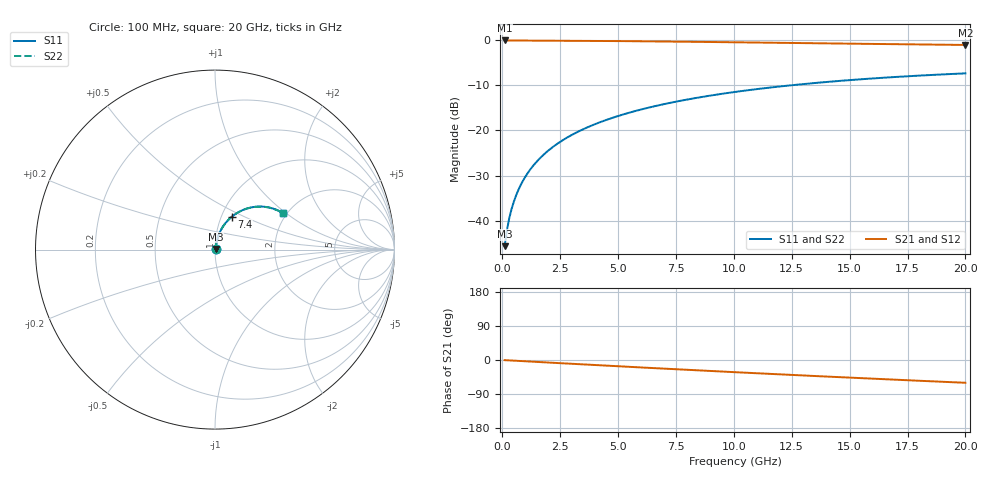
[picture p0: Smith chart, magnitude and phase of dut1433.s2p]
! Touchstone file exported from HFSS 2026.1.0
!  File:  C:/ffzhzh/LocalFiles/Ansys_Project_Files/temp_train_BSMRDL_1433_1783180420_22436.aedt
!  Generated:  11:55:05 PM Jul  4, 2026
!  Design:  BSMRDL
!  Project:  temp_train_BSMRDL_1433_1783180420_22436
! Variables:
!  h_bsmrdl = 4.32um
!  h_ox = 20um
!  h_rdl = 5um
!  h_sub = 80um
!  h_tmrdl = 5um
!  h_tsv = 80um
!  h_via = 3um
!  l_bsmrdl = 984.04um
!  l_sub = 1384.04um
!  l_tmrdl = 200um
!  m_sub = 200um
!  pitch = 42.38um
!  r_tsv = 6um
!  s_tmrdl = 10um
!  w_bsmrdl = 21.32um
!  w_sub = 500um
!  w_tmrdl = 12um
!  x_tsv_center1 = 206um
!  x_tsv_center2 = 1211.36um
!  x_tsv_center3 = 1423.36um
!  x_tsv_center4 = 2428.72um
!  x_tsv_center5 = 2640.72um
!  x_tsv_center6 = 3646.08um
# GHz S MA R 50.000000
! Terminal data exported
! Port[1] = BSM_RDL1_1_T1
! Port[2] = BSM_RDL1_1_T2
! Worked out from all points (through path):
!   200 points, 100 MHz to 20 GHz, reference 50 ohm
!   highest |S21| = -0.03 dB at 100 MHz (marker M1); lowest = -1.0 dB at 20 GHz (marker M2)
!   group delay of S21, straight-line fit = 8.34 ps
!   lowest |S11| = -45.7 dB at 100 MHz (marker M3), VSWR 1.01, Z = 50.4 + j0.338 ohm
!   |S11| at or under -10 dB: start of sweep to 12.43 GHz
!   |S22| runs from -45.7 to -7.3 dB; largest |S21 - S12| = 2e-15
!   S11 on the Smith chart (normalised r, x): 100 MHz: 1.01, +0.01; 7.4 GHz: 1.12, +0.43; 20 GHz: 1.91, +0.95
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0.1  0.005203 40.1  0.996 -0.4  0.996 -0.4  0.005203 40.1
! Gamma 0 0 0 0
! Port Impedance 50 0 50 0
0.2  0.007808 56.6  0.9958 -0.7  0.9958 -0.7  0.007807 56.6
0.3  0.0106 64.1  0.9955 -1.0  0.9955 -1.0  0.0106 64.1
0.4  0.01342 68.5  0.9953 -1.4  0.9953 -1.4  0.01342 68.5
0.5  0.01627 71.3  0.9951 -1.7  0.9951 -1.7  0.01627 71.3
0.6  0.01914 73.3  0.995 -2.0  0.995 -2.0  0.01914 73.3
0.8  0.02494 75.7  0.9947 -2.7  0.9947 -2.7  0.02494 75.7
1.1  0.03374 77.5  0.9943 -3.7  0.9943 -3.7  0.03374 77.5
1.3  0.03963 77.9  0.9939 -4.4  0.9939 -4.4  0.03963 77.9
1.6  0.04847 78.1  0.9933 -5.4  0.9933 -5.4  0.04847 78.1
2.1  0.06313 77.6  0.9921 -7.0  0.9921 -7.0  0.06313 77.6
2.7  0.08054 76.4  0.9903 -9.0  0.9903 -9.0  0.08055 76.4
3.5  0.1033 74.3  0.9874 -11.6  0.9874 -11.6  0.1034 74.3
4.2  0.1229 72.3  0.9844 -13.9  0.9844 -13.9  0.1229 72.3
5  0.1446 70.0  0.9806 -16.5  0.9806 -16.5  0.1446 70.0
6.8  0.1913 64.7  0.971 -22.2  0.971 -22.2  0.1913 64.6
7.4  0.2061 62.9  0.9675 -24.1  0.9675 -24.1  0.2062 62.9
8.7  0.2371 59.1  0.9596 -28.1  0.9596 -28.1  0.2371 59.0
10.1  0.2685 55.0  0.9506 -32.3  0.9506 -32.3  0.2686 55.0
13.4  0.3342 45.7  0.9286 -42.0  0.9286 -42.0  0.3343 45.7
16.7  0.3879 36.8  0.9071 -51.2  0.9071 -51.2  0.388 36.7
20  0.4297 28.1  0.8881 -60.1  0.8881 -60.1  0.4298 28.0
